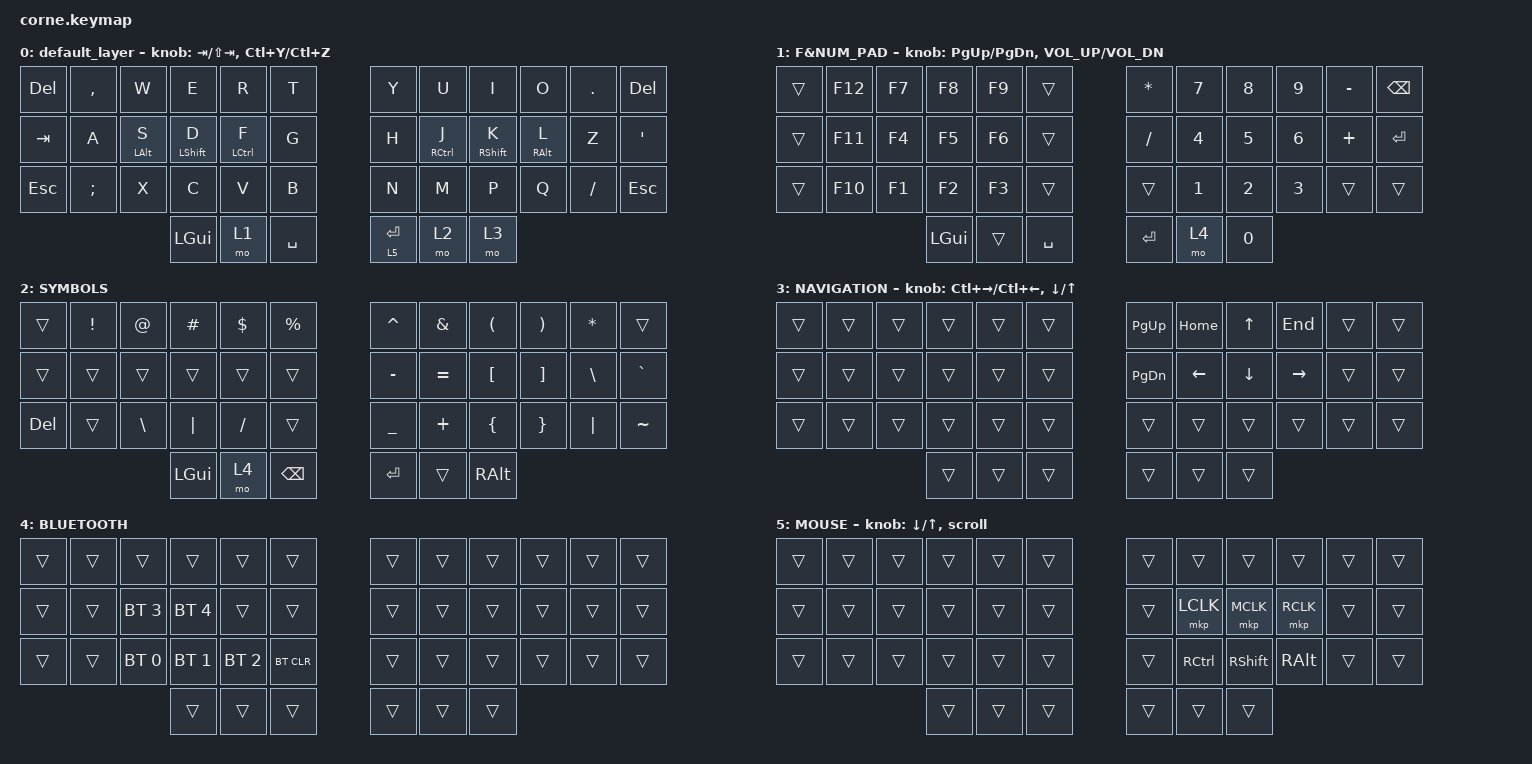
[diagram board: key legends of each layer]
/*
 * Copyright (c) 2020 The ZMK Contributors
 *
 * SPDX-License-Identifier: MIT
 */

#include <behaviors.dtsi>
#include <dt-bindings/zmk/bt.h>
#include <dt-bindings/zmk/keys.h>
#include <dt-bindings/zmk/pointing.h>

/ {
        sensors {
                compatible = "zmk,keymap-sensors";
                sensors = <&left_encoder &right_encoder>;
                triggers-per-rotation = <20>;
        };
};

&nice_view_spi { cs-gpios = <&pro_micro 8 GPIO_ACTIVE_HIGH>; };

/ {
    combos { compatible = "zmk,combos"; };

    behaviors {
        scroll: scroll {
            compatible = "zmk,behavior-sensor-rotate";
            label = "SCROLL";
            #sensor-binding-cells = <0>;
            bindings = <&msc SCRL_UP>, <&msc SCRL_DOWN>;
        };
    };

    keymap {
        compatible = "zmk,keymap";

        default_layer {
            // -----------------------------------------------------------------------------------------
            // |  TAB |  Q  |  W  |  E  |  R  |  T  |   |  Y  |  U   |  I  |  O  |  P  | BSPC |
            // | CTRL |  A  |  S  |  D  |  F  |  G  |   |  H  |  J   |  K  |  L  |  ;  |  '   |
            // | SHFT |  Z  |  X  |  C  |  V  |  B  |   |  N  |  M   |  ,  |  .  |  /  | ESC  |
            //                    | GUI | LWR | SPC |   | ENT | RSE  | ALT |

            bindings = <
&kp DEL  &kp COMMA      &kp W           &kp E             &kp R               &kp T        &kp Y        &kp U                &kp I              &kp O            &kp DOT   &kp DEL
&kp TAB  &kp A          &mt LEFT_ALT S  &mt LEFT_SHIFT D  &mt LEFT_CONTROL F  &kp G        &kp H        &mt RIGHT_CONTROL J  &mt RIGHT_SHIFT K  &mt RIGHT_ALT L  &kp Z     &kp SQT
&kp ESC  &kp SEMICOLON  &kp X           &kp C             &kp V               &kp B        &kp N        &kp M                &kp P              &kp Q            &kp FSLH  &kp ESC
                                        &kp LGUI          &mo 1               &kp SPACE    &lt 5 ENTER  &mo 2                &mo 3
            >;
                sensor-bindings = <
                        &inc_dec_kp TAB LS(TAB)
                        &inc_dec_kp LC(Y) LC(Z)>;
        };

        lower_layer {
            // -----------------------------------------------------------------------------------------
            // |  TAB |  1  |  2  |  3  |  4  |  5  |   |  6  |  7  |  8  |  9  |  0  | BSPC |
            // | BTCLR| BT1 | BT2 | BT3 | BT4 | BT5 |   | LFT | DWN |  UP | RGT |     |      |
            // | SHFT |     |     |     |     |     |   |     |     |     |     |     |      |
            //                    | GUI |     | SPC |   | ENT |     | ALT |

            bindings = <
&trans  &kp F12  &kp F7  &kp F8    &kp F9  &trans       &kp ASTERISK  &kp N7        &kp N8        &kp N9        &kp MINUS  &kp BSPC
&trans  &kp F11  &kp F4  &kp F5    &kp F6  &trans       &kp SLASH     &kp NUMBER_4  &kp N5        &kp NUMBER_6  &kp PLUS   &kp ENTER
&trans  &kp F10  &kp F1  &kp F2    &kp F3  &trans       &trans        &kp NUMBER_1  &kp NUMBER_2  &kp NUMBER_3  &trans     &trans
                         &kp LGUI  &trans  &kp SPACE    &kp RET       &mo 4         &kp N0
            >;
                sensor-bindings = <
                        &inc_dec_kp PG_UP PG_DN
                        &inc_dec_kp C_VOL_UP C_VOL_DN>;
            label = "F&NUM_PAD";
        };

        raise_layer {
            // -----------------------------------------------------------------------------------------
            // |  TAB |  !  |  @  |  #  |  $  |  %   |   |  ^  |  &  |  *  |  (  |  )  | BSPC |
            // | CTRL |     |     |     |     |      |   |  -  |  =  |  [  |  ]  |  \  |  `   |
            // | SHFT |     |  \  | "|" |  /  |      |   |  _  |  +  |  {  |  }  | "|" |  ~   |
            //                    | GUI |     | BSPC |   | ENT |     | ALT |

            bindings = <
&trans   &kp EXCL  &kp AT    &kp HASH  &kp DLLR  &kp PRCNT    &kp CARET  &kp AMPS   &kp LPAR  &kp RPAR  &kp ASTRK  &trans
&trans   &trans    &trans    &trans    &trans    &trans       &kp MINUS  &kp EQUAL  &kp LBKT  &kp RBKT  &kp BSLH   &kp GRAVE
&kp DEL  &trans    &kp BSLH  &kp PIPE  &kp FSLH  &trans       &kp UNDER  &kp PLUS   &kp LBRC  &kp RBRC  &kp PIPE   &kp TILDE
                             &kp LGUI  &mo 4     &kp BSPC     &kp RET    &trans     &kp RALT
            >;

            label = "SYMBOLS";
        };

        navigation {
            bindings = <
&trans  &trans  &trans  &trans  &trans  &trans    &kp PAGE_UP    &kp HOME  &kp UP_ARROW  &kp END    &trans  &trans
&trans  &trans  &trans  &trans  &trans  &trans    &kp PAGE_DOWN  &kp LEFT  &kp DOWN      &kp RIGHT  &trans  &trans
&trans  &trans  &trans  &trans  &trans  &trans    &trans         &trans    &trans        &trans     &trans  &trans
                        &trans  &trans  &trans    &trans         &trans    &trans
            >;
                sensor-bindings = <
                        &inc_dec_kp LC(RIGHT) LC(LEFT)
                        &inc_dec_kp DOWN UP>;
            label = "NAVIGATION";
        };

        bluetooth {
            bindings = <
&trans  &trans  &trans        &trans        &trans        &trans        &trans  &trans  &trans  &trans  &trans  &trans
&trans  &trans  &bt BT_SEL 3  &bt BT_SEL 4  &trans        &trans        &trans  &trans  &trans  &trans  &trans  &trans
&trans  &trans  &bt BT_SEL 0  &bt BT_SEL 1  &bt BT_SEL 2  &bt BT_CLR    &trans  &trans  &trans  &trans  &trans  &trans
                              &trans        &trans        &trans        &trans  &trans  &trans
            >;

            label = "BLUETOOTH";
        };

        MOUSE {
            bindings = <
&trans  &trans  &trans  &trans  &trans  &trans    &trans  &trans             &trans           &trans         &trans  &trans
&trans  &trans  &trans  &trans  &trans  &trans    &trans  &mkp LCLK          &mkp MCLK        &mkp RCLK      &trans  &trans
&trans  &trans  &trans  &trans  &trans  &trans    &trans  &kp RIGHT_CONTROL  &kp RIGHT_SHIFT  &kp RIGHT_ALT  &trans  &trans
                        &trans  &trans  &trans    &trans  &trans             &trans
            >;
                sensor-bindings = <
                        &inc_dec_kp DOWN UP
                        &scroll>;

            label = "MOUSE";
        };
    };
};
